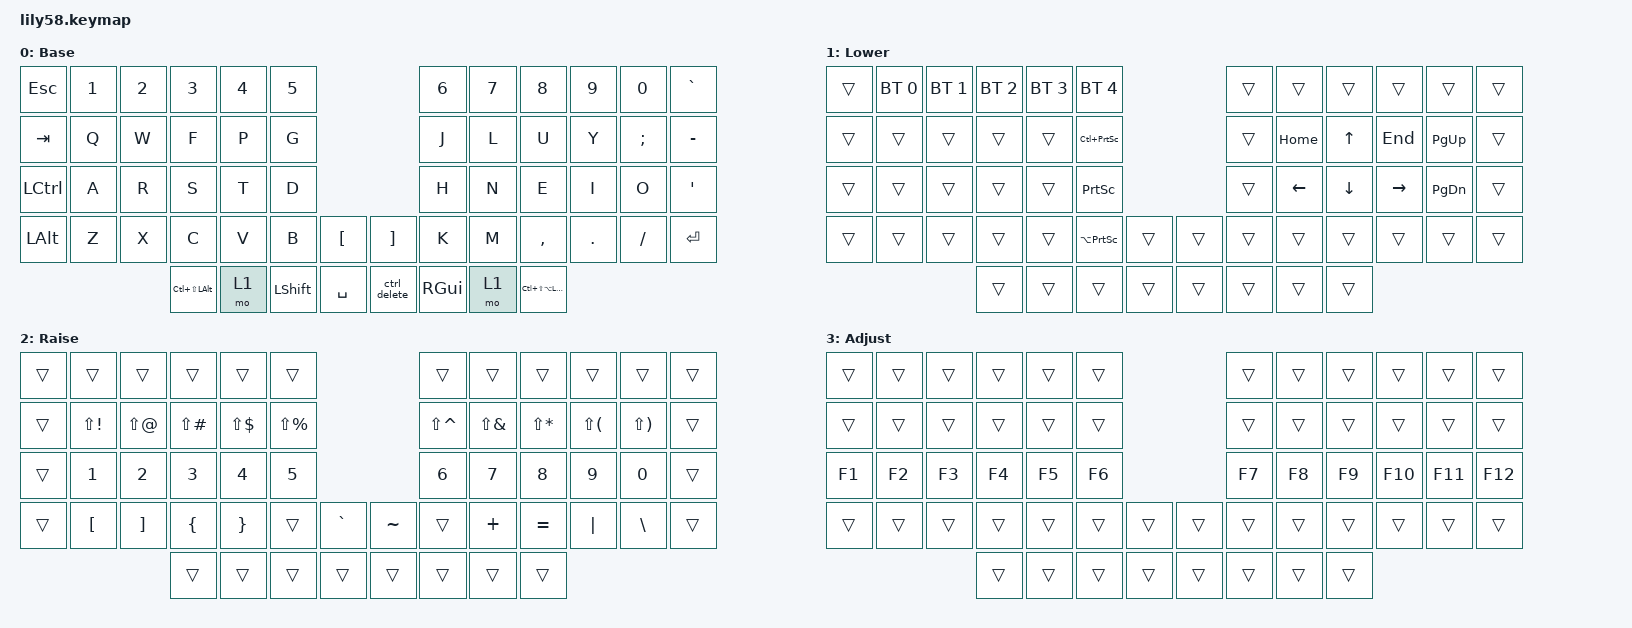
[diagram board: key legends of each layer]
/*
 * Copyright (c) 2020 The ZMK Contributors
 *
 * SPDX-License-Identifier: MIT
 */

#include <behaviors.dtsi>
#include <dt-bindings/zmk/keys.h>
#include <dt-bindings/zmk/bt.h>
#include <dt-bindings/zmk/ext_power.h>

#define HYPER LC(LS(LA(LGUI)))
#define MEH LC(LS(LALT))

/ {
    conditional_layers {
        compatible = "zmk,conditional-layers";

        tri_layer {
            if-layers = <1 2>;
            then-layer = <3>;
        };
    };

    combos { compatible = "zmk,combos"; };

    behaviors {
        ctrl_delete: ctrl_delete {
            compatible = "zmk,behavior-mod-morph";
            label = "CTRL_DELETE";
            bindings = <&kp BACKSPACE>, <&kp DEL>;

            #binding-cells = <0>;
            mods = <(MOD_LCTL)>;
        };
    };

    keymap {
        compatible = "zmk,keymap";

        default_layer {
// ------------------------------------------------------------------------------------------------------------
// |  ESC  |  1  |  2  |  3   |  4   |  5   |                   |  6   |  7    |  8    |  9   |   0   |   `   |
// |  TAB  |  Q  |  W  |  E   |  R   |  T   |                   |  Y   |  U    |  I    |  O   |   P   |   -   |
// |  CTRL |  A  |  S  |  D   |  F   |  G   |                   |  H   |  J    |  K    |  L   |   ;   |   '   |
// | SHIFT |  Z  |  X  |  C   |  V   |  B   |   "["  |  |  "]"  |  N   |  M    |  ,    |  .   |   /   | SHIFT |
//                     | ALT  | GUI  | LOWER|  SPACE |  | ENTER | RAISE| BSPC  | GUI   |
            display-name = "Base";
            bindings = <
&kp ESC   &kp N1 &kp N2 &kp N3   &kp N4   &kp N5                              &kp N6    &kp N7   &kp N8    &kp N9  &kp N0   &kp GRAVE
&kp TAB   &kp Q  &kp W  &kp F    &kp P    &kp G                               &kp J     &kp L    &kp U     &kp Y   &kp SEMI &kp MINUS
&kp LCTRL &kp A  &kp R  &kp S    &kp T    &kp D                               &kp H     &kp N    &kp E     &kp I   &kp O    &kp SQT
&kp LALT  &kp Z  &kp X  &kp C    &kp V    &kp B      &kp LBKT   &kp RBKT      &kp K     &kp M    &kp COMMA &kp DOT &kp FSLH &kp ENTER
                        &kp MEH  &mo 1    &kp LSHFT  &kp SPACE  &ctrl_delete  &kp RGUI  &mo 1    &kp HYPER
            >;
        };

        lower_layer {
// ------------------------------------------------------------------------------------------------------------
// | BTCLR | BT1 | BT2 |  BT3 |  BT4 |  BT5 |                   |      |       |       |      |       |       |
// |  F1   |  F2 |  F3 |  F4  |  F5  |  F6  |                   |  F7  |  F8   |  F9   |  F10 |  F11  |  F12  |
// |   `   |  !  |  @  |  #   |  $   |  %   |                   |  ^   |  &    |  *    |  (   |   )   |   ~   |
// |       |     |     |      |      |      |        |  |       |      |  _    |  +    |  {   |   }   |  "|"  |
//                     |      |      |      |        |  |       |      |       |       |
            display-name = "Lower";
            bindings = <
&trans  &bt BT_SEL 0     &bt BT_SEL 1      &bt BT_SEL 2      &bt BT_SEL 3 &bt BT_SEL 4                              &trans  &trans    &trans    &trans     &trans         &trans
&trans  &trans           &trans            &trans            &trans       &kp LC(PRINTSCREEN)                       &trans  &kp HOME  &kp UP    &kp END    &kp PAGE_UP    &trans
&trans  &trans           &trans            &trans            &trans       &kp PRINTSCREEN                           &trans  &kp LEFT  &kp DOWN  &kp RIGHT  &kp PAGE_DOWN  &trans
&trans  &trans           &trans            &trans            &trans       &kp LA(PRINTSCREEN)    &trans   &trans    &trans  &trans    &trans    &trans     &trans         &trans
                                           &trans            &trans       &trans                 &trans   &trans    &trans  &trans    &trans
            >;
        };

        raise_layer {
// ------------------------------------------------------------------------------------------------------------
// |       |     |     |      |      |      |                   |      |       |       |      |       |       |
// |   `   |  1  |  2  |  3   |  4   |  5   |                   |  6   |   7   |   8   |  9   |   0   |       |
// |   F1  |  F2 |  F3 |  F4  |  F5  |  F6  |                   |      |   <-  |   v   |  ^   |  ->   |       |
// |   F7  |  F8 |  F9 |  F10 |  F11 |  F12 |        |  |       |  +   |   -   |   =   |  [   |   ]   |   \   |
//                     |      |      |      |        |  |       |      |       |       |
            display-name = "Raise";
            bindings = <
&trans &trans       &trans      &trans          &trans          &trans                          &trans          &trans          &trans          &trans          &trans          &trans
&trans &kp LS(EXCL) &kp LS(AT)  &kp LS(POUND)   &kp LS(DLLR)    &kp LS(PRCNT)                   &kp LS(CARET)   &kp LS(AMPS)    &kp LS(STAR)    &kp LS(LPAR)    &kp LS(RPAR)    &trans
&trans &kp N1       &kp N2      &kp N3          &kp N4          &kp N5                          &kp N6          &kp N7          &kp N8          &kp N9          &kp N0          &trans
&trans &kp LBKT     &kp RBKT    &kp LBRC        &kp RBRC        &trans    &kp GRAVE   &kp TILDE &trans          &kp PLUS        &kp EQUAL       &kp PIPE        &kp BACKSLASH   &trans
                                &trans          &trans          &trans    &trans      &trans    &trans          &trans          &trans
            >;
        };

        adjust_layer {
// ------------------------------------------------------------------------------------------------------------
// |       |     |     |      |      |      |                   |      |       |       |      |       |       |
// |   `   |  1  |  2  |  3   |  4   |  5   |                   |  6   |   7   |   8   |  9   |   0   |       |
// |   F1  |  F2 |  F3 |  F4  |  F5  |  F6  |                   |      |   <-  |   v   |  ^   |  ->   |       |
// |   F7  |  F8 |  F9 |  F10 |  F11 |  F12 |        |  |       |  +   |   -   |   =   |  [   |   ]   |   \   |
//                     |      |      |      |        |  |       |      |       |       |

            display-name = "Adjust";
            bindings = <
&trans   &trans &trans &trans   &trans  &trans                              &trans    &trans   &trans  &trans   &trans   &trans
&trans   &trans &trans &trans   &trans  &trans                              &trans    &trans   &trans  &trans   &trans   &trans
&kp F1   &kp F2 &kp F3 &kp F4   &kp F5  &kp F6                              &kp F7    &kp F8   &kp F9  &kp F10  &kp F11  &kp F12
&trans   &trans &trans &trans   &trans  &trans  &trans               &trans &trans    &trans   &trans  &trans   &trans   &trans
                       &trans   &trans  &trans  &trans               &trans &trans    &trans   &trans
            >;
        };

        extra_1 {
            status = "reserved";
        };

        extra_2 {
            status = "reserved";
        };

        extra_3 {
            status = "reserved";
        };
    };
};
